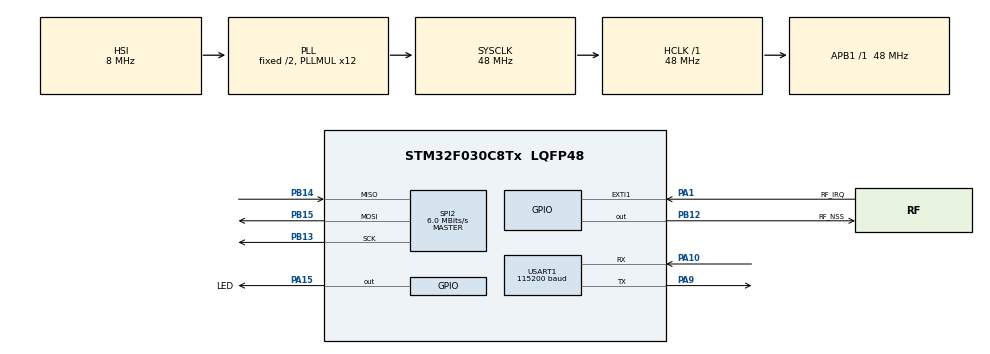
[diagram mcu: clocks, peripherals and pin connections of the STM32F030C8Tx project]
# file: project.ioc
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Mcu.Family=STM32F0
Mcu.Name=STM32F030C8Tx
Mcu.Package=LQFP48
NVIC.EXTI0_1_IRQn=true\:0\:0\:false\:false\:true\:true\:true\:true
PA1.GPIO_Label=RF_IRQ
PA1.GPIO_ModeDefaultEXTI=GPIO_MODE_IT_RISING
PA1.GPIO_PuPd=GPIO_PULLUP
PA1.Signal=GPXTI1
PA10.Mode=Asynchronous
PA10.Signal=USART1_RX
PA13.Mode=Serial_Wire
PA13.Signal=SYS_SWDIO
PA14.Mode=Serial_Wire
PA14.Signal=SYS_SWCLK
PA15.GPIO_Label=LED
PA15.Signal=GPIO_Output
PA9.Mode=Asynchronous
PA9.Signal=USART1_TX
PB12.GPIO_Label=RF_NSS
PB12.GPIO_PuPd=GPIO_PULLUP
PB12.PinState=GPIO_PIN_SET
PB12.Signal=GPIO_Output
PB13.GPIO_PuPd=GPIO_PULLUP
PB13.Mode=Full_Duplex_Master
PB13.Signal=SPI2_SCK
PB14.GPIO_PuPd=GPIO_PULLUP
PB14.Mode=Full_Duplex_Master
PB14.Signal=SPI2_MISO
PB15.GPIO_PuPd=GPIO_PULLUP
PB15.Mode=Full_Duplex_Master
PB15.Signal=SPI2_MOSI
ProjectManager.HeapSize=0x400
ProjectManager.StackSize=0x400
ProjectManager.TargetToolchain=SW4STM32
RCC.AHBFreq_Value=48000000
RCC.APB1Freq_Value=48000000
RCC.APB1TimFreq_Value=48000000
RCC.HCLKFreq_Value=48000000
RCC.PLLMUL=RCC_PLL_MUL12
RCC.SYSCLKFreq_VALUE=48000000
RCC.SYSCLKSource=RCC_SYSCLKSOURCE_PLLCLK
SPI2.BaudRatePrescaler=SPI_BAUDRATEPRESCALER_8
SPI2.CalculateBaudRate=6.0 MBits/s
SPI2.DataSize=SPI_DATASIZE_8BIT
SPI2.Direction=SPI_DIRECTION_2LINES
SPI2.Mode=SPI_MODE_MASTER
SPI2.VirtualType=VM_MASTER
USART1.BaudRate=115200
USART1.VirtualMode-Asynchronous=VM_ASYNC
board=custom

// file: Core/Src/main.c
/* USER CODE BEGIN Header */
/**
  ******************************************************************************
  * @file           : main.c
  * @brief          : Main program body
  ******************************************************************************
  * @attention
  *
  * Copyright (c) 2022 STMicroelectronics.
  * All rights reserved.
  *
  * This software is licensed under terms that can be found in the LICENSE file
  * in the root directory of this software component.
  * If no LICENSE file comes with this software, it is provided AS-IS.
  *
  ******************************************************************************
  */
/* USER CODE END Header */
#include "main.h"
#include "spi.h"
#include "usart.h"
#include "gpio.h"

/* USER CODE BEGIN Includes */
#include <stdio.h>
#include "radio.h"
#include "rf_process.h"

/* USER CODE END Includes */

void SystemClock_Config(void);

/* USER CODE BEGIN 0 */
void LedToggle(void){
    HAL_GPIO_WritePin(LED_GPIO_Port,LED_Pin,RESET);
    HAL_Delay(10);
    HAL_GPIO_WritePin(LED_GPIO_Port,LED_Pin,SET);
}
/* USER CODE END 0 */

int main(void)
{

  /* MCU Configuration--------------------------------------------------------*/

  /* Reset of all peripherals, Initializes the Flash interface and the Systick. */
  HAL_Init();

  /* Configure the system clock */
  SystemClock_Config();

  /* Initialize all configured peripherals */
  MX_GPIO_Init();
  MX_SPI2_Init();
  MX_USART1_UART_Init();
  /* USER CODE BEGIN 2 */
  while(rf_init() != OK){
      printf("init fail.\r\n");
      HAL_Delay(1000);
  }

  rf_set_default_para();
  #ifdef WORK_MODE_TX
    rf_enter_continous_tx();
  #endif

  #ifdef WROK_MODE_RX
    rf_enter_continous_rx();
  #endif

  /* USER CODE END 2 */

  /* Infinite loop */
  while (1)
  {

    /* USER CODE BEGIN 3 */
      HAL_Delay(1000);

    #ifdef WORK_MODE_TX
      rf_tx_demo();
    #endif

    #ifdef WROK_MODE_RX
      rf_rx_demo();
    #endif
  }
  /* USER CODE END 3 */
}

void SystemClock_Config(void)
{
  RCC_OscInitTypeDef RCC_OscInitStruct = {0};
  RCC_ClkInitTypeDef RCC_ClkInitStruct = {0};
  RCC_PeriphCLKInitTypeDef PeriphClkInit = {0};

  /** Initializes the RCC Oscillators according to the specified parameters
  * in the RCC_OscInitTypeDef structure.
  */
  RCC_OscInitStruct.OscillatorType = RCC_OSCILLATORTYPE_HSI;
  RCC_OscInitStruct.HSIState = RCC_HSI_ON;
  RCC_OscInitStruct.HSICalibrationValue = RCC_HSICALIBRATION_DEFAULT;
  RCC_OscInitStruct.PLL.PLLState = RCC_PLL_ON;
  RCC_OscInitStruct.PLL.PLLSource = RCC_PLLSOURCE_HSI;
  RCC_OscInitStruct.PLL.PLLMUL = RCC_PLL_MUL12;
  RCC_OscInitStruct.PLL.PREDIV = RCC_PREDIV_DIV1;
  if (HAL_RCC_OscConfig(&RCC_OscInitStruct) != HAL_OK)
  {
    Error_Handler();
  }
  /** Initializes the CPU, AHB and APB buses clocks
  */
  RCC_ClkInitStruct.ClockType = RCC_CLOCKTYPE_HCLK|RCC_CLOCKTYPE_SYSCLK
                              |RCC_CLOCKTYPE_PCLK1;
  RCC_ClkInitStruct.SYSCLKSource = RCC_SYSCLKSOURCE_PLLCLK;
  RCC_ClkInitStruct.AHBCLKDivider = RCC_SYSCLK_DIV1;
  RCC_ClkInitStruct.APB1CLKDivider = RCC_HCLK_DIV1;

  if (HAL_RCC_ClockConfig(&RCC_ClkInitStruct, FLASH_LATENCY_1) != HAL_OK)
  {
    Error_Handler();
  }
  PeriphClkInit.PeriphClockSelection = RCC_PERIPHCLK_USART1;
  PeriphClkInit.Usart1ClockSelection = RCC_USART1CLKSOURCE_PCLK1;
  if (HAL_RCCEx_PeriphCLKConfig(&PeriphClkInit) != HAL_OK)
  {
    Error_Handler();
  }
}

void Error_Handler(void)
{
  __disable_irq();
  while (1)
  {
  }
}
